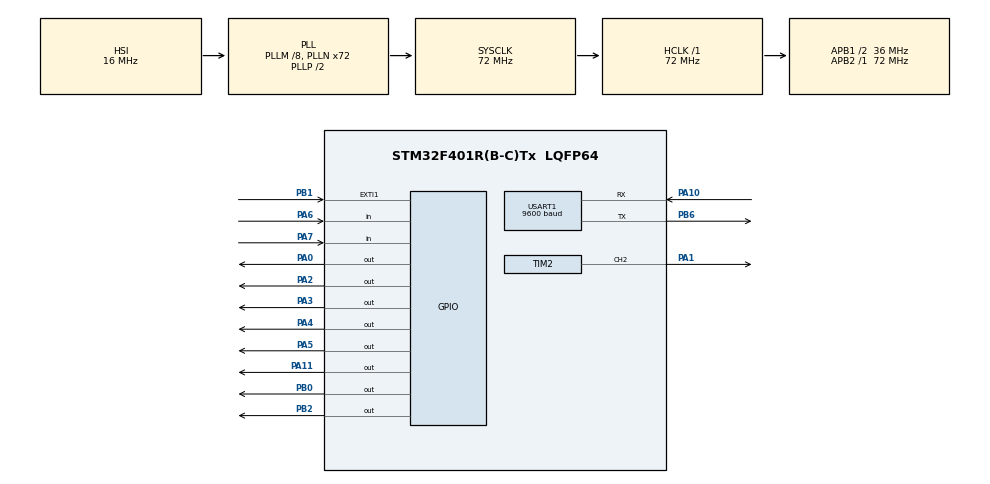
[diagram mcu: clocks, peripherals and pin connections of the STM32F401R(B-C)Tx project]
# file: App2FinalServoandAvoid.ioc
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Mcu.Family=STM32F4
Mcu.Name=STM32F401R(B-C)Tx
Mcu.Package=LQFP64
NVIC.EXTI1_IRQn=true\:0\:0\:false\:false\:true\:true\:true\:true
NVIC.PriorityGroup=NVIC_PRIORITYGROUP_4
NVIC.USART1_IRQn=true\:0\:0\:false\:false\:true\:true\:true\:true
PA0-WKUP.Signal=GPIO_Output
PA1.Signal=S_TIM2_CH2
PA10.Mode=Asynchronous
PA10.Signal=USART1_RX
PA11.Signal=GPIO_Output
PA13.Mode=Serial_Wire
PA13.Signal=SYS_JTMS-SWDIO
PA14.Mode=Serial_Wire
PA14.Signal=SYS_JTCK-SWCLK
PA2.Signal=GPIO_Output
PA3.Signal=GPIO_Output
PA4.Signal=GPIO_Output
PA5.Signal=GPIO_Output
PA6.Signal=GPIO_Input
PA7.Signal=GPIO_Input
PB0.Signal=GPIO_Output
PB1.Signal=GPXTI1
PB2.Signal=GPIO_Output
PB6.Mode=Asynchronous
PB6.Signal=USART1_TX
PH0\ -\ OSC_IN.Mode=HSE-External-Oscillator
PH0\ -\ OSC_IN.Signal=RCC_OSC_IN
PH1\ -\ OSC_OUT.Mode=HSE-External-Oscillator
PH1\ -\ OSC_OUT.Signal=RCC_OSC_OUT
ProjectManager.HeapSize=0x200
ProjectManager.StackSize=0x400
ProjectManager.TargetToolchain=STM32CubeIDE
RCC.48MHZClocksFreq_Value=36000000
RCC.AHBFreq_Value=72000000
RCC.APB1CLKDivider=RCC_HCLK_DIV2
RCC.APB1Freq_Value=36000000
RCC.APB1TimFreq_Value=72000000
RCC.APB2Freq_Value=72000000
RCC.APB2TimFreq_Value=72000000
RCC.CortexFreq_Value=72000000
RCC.HCLKFreq_Value=72000000
RCC.HSE_VALUE=25000000
RCC.HSI_VALUE=16000000
RCC.LSE_VALUE=32768
RCC.PLLM=8
RCC.PLLN=72
RCC.SYSCLKFreq_VALUE=72000000
RCC.SYSCLKSource=RCC_SYSCLKSOURCE_PLLCLK
RCC.VCOOutputFreq_Value=144000000
SH.S_TIM2_CH2.0=TIM2_CH2,PWM Generation2 CH2
TIM1.Prescaler=71
TIM2.Channel-PWM\ Generation2\ CH2=TIM_CHANNEL_2
TIM2.Period=19999
TIM2.Prescaler=71
USART1.BaudRate=9600
USART1.VirtualMode=VM_ASYNC
VP_TIM1_VS_ClockSourceINT.Mode=Internal
VP_TIM2_VS_ClockSourceINT.Mode=Internal
board=custom

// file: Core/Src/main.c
/* USER CODE BEGIN Header */
/**
  ******************************************************************************
  * @file           : main.c
  * @brief          : Main program body
  ******************************************************************************
  * @attention
  *
  * Copyright (c) 2024 STMicroelectronics.
  * All rights reserved.
  *
  * This software is licensed under terms that can be found in the LICENSE file
  * in the root directory of this software component.
  * If no LICENSE file comes with this software, it is provided AS-IS.
  *
  ******************************************************************************
  */
/* USER CODE END Header */
#include "main.h"

TIM_HandleTypeDef htim1;
TIM_HandleTypeDef htim2;

UART_HandleTypeDef huart1;

/* USER CODE BEGIN PV */
#define TRIG_PIN                GPIO_PIN_5
#define TRIG_PORT               GPIOA

#define ECHO_PIN                GPIO_PIN_6
#define ECHO_PORT               GPIOA

#define MOTOR1_PIN              GPIO_PIN_0
#define MOTOR1_PORT             GPIOA

#define MOTOR2_PIN              GPIO_PIN_4
#define MOTOR2_PORT             GPIOA

#define MOTOR3_PIN              GPIO_PIN_2
#define MOTOR3_PORT             GPIOA

#define MOTOR4_PIN              GPIO_PIN_3
#define MOTOR4_PORT             GPIOA

#define LED_PIN                 GPIO_PIN_0
#define LED_PORT                GPIOB

#define BUZZER_PIN              GPIO_PIN_2
#define BUZZER_PORT             GPIOB

#define SERVO_PIN               GPIO_PIN_1
#define SERVO_PORT              GPIOA

#define TOUCH_PIN               GPIO_PIN_1
#define TOUCH_PORT              GPIOB

uint32_t pMillis;
uint32_t Value1 = 0;
uint32_t Value2 = 0;
uint16_t Distance  = 0;  // cm
uint16_t Touch = 0;
uint8_t received_char;
uint16_t Swap = 0;
/* USER CODE END PV */

void SystemClock_Config(void);
static void MX_GPIO_Init(void);
static void MX_TIM2_Init(void);
static void MX_TIM1_Init(void);
static void MX_USART1_UART_Init(void);
/* USER CODE BEGIN PFP */
void set_servo_angle(uint16_t angle);
/* USER CODE END PFP */

/* USER CODE BEGIN 0 */
void HAL_UART_RxCpltCallback(UART_HandleTypeDef *huart);
/* USER CODE END 0 */

int main(void)
{

  /* MCU Configuration--------------------------------------------------------*/

  /* Reset of all peripherals, Initializes the Flash interface and the Systick. */
  HAL_Init();

  /* Configure the system clock */
  SystemClock_Config();

  /* Initialize all configured peripherals */
  MX_GPIO_Init();
  MX_TIM2_Init();
  MX_TIM1_Init();
  MX_USART1_UART_Init();
  /* USER CODE BEGIN 2 */
  HAL_TIM_Base_Start(&htim1);
  HAL_TIM_PWM_Start(&htim2, TIM_CHANNEL_2);
  HAL_GPIO_WritePin(TRIG_PORT, TRIG_PIN, GPIO_PIN_RESET);  // pull the TRIG pin low

  // Initialize UART reception
  HAL_UART_Receive_IT(&huart1, &received_char, 1);
  /* USER CODE END 2 */

  /* Infinite loop */
  /* USER CODE BEGIN WHILE */
  while (1)
  {
    // Swap mode handling
    if (Swap)
    {
        set_servo_angle(0);  // Set servo to 0 degrees
        HAL_Delay(500);
        set_servo_angle(90);  // Set servo to 90 degrees
        HAL_Delay(500);
        set_servo_angle(180);  // Set servo to 180 degrees
    }
    // If touch sensor is activated
    if (Touch)
    {
        HAL_GPIO_WritePin(TRIG_PORT, TRIG_PIN, GPIO_PIN_SET);  // pull the TRIG pin HIGH
        __HAL_TIM_SET_COUNTER(&htim1, 0);
        while (__HAL_TIM_GET_COUNTER(&htim1) < 10);  // wait for 10 us
        HAL_GPIO_WritePin(TRIG_PORT, TRIG_PIN, GPIO_PIN_RESET);  // pull the TRIG pin low

        pMillis = HAL_GetTick(); // used this to avoid infinite while loop (for timeout)
        // wait for the echo pin to go high
        while (!(HAL_GPIO_ReadPin(ECHO_PORT, ECHO_PIN)) && pMillis + 10 > HAL_GetTick());
        Value1 = __HAL_TIM_GET_COUNTER(&htim1);

        pMillis = HAL_GetTick(); // used this to avoid infinite while loop (for timeout)
        // wait for the echo pin to go low
        while ((HAL_GPIO_ReadPin(ECHO_PORT, ECHO_PIN)) && pMillis + 50 > HAL_GetTick());
        Value2 = __HAL_TIM_GET_COUNTER(&htim1);

        Distance = (Value2 - Value1) * 0.034 / 2;

        if (Distance < 10)
        {
            HAL_GPIO_WritePin(BUZZER_PORT, BUZZER_PIN, GPIO_PIN_SET);  // Sound the buzzer
            HAL_GPIO_WritePin(LED_PORT, LED_PIN, GPIO_PIN_RESET);  // turn the LED off

            set_servo_angle(0);  // Set servo to 0 degrees
            HAL_Delay(500);
            set_servo_angle(90);  // Set servo to 90 degrees
            HAL_Delay(500);
            set_servo_angle(180);  // Set servo to 180 degrees

            HAL_GPIO_WritePin(BUZZER_PORT, BUZZER_PIN, GPIO_PIN_RESET);  // Stop the buzzer

            HAL_GPIO_WritePin(MOTOR1_PORT, MOTOR1_PIN, GPIO_PIN_RESET);  // moving right
            HAL_GPIO_WritePin(MOTOR2_PORT, MOTOR2_PIN, GPIO_PIN_SET);
            HAL_GPIO_WritePin(MOTOR3_PORT, MOTOR3_PIN, GPIO_PIN_SET);
            HAL_GPIO_WritePin(MOTOR4_PORT, MOTOR4_PIN, GPIO_PIN_RESET);
        }
        else
        {
            HAL_GPIO_WritePin(LED_PORT, LED_PIN, GPIO_PIN_SET);  // turn the LED on

            HAL_GPIO_WritePin(BUZZER_PORT, BUZZER_PIN, GPIO_PIN_RESET);  // turn the buzzer off

            HAL_GPIO_WritePin(MOTOR1_PORT, MOTOR1_PIN, GPIO_PIN_SET);  // turn the Motors on
            HAL_GPIO_WritePin(MOTOR2_PORT, MOTOR2_PIN, GPIO_PIN_RESET);
            HAL_GPIO_WritePin(MOTOR3_PORT, MOTOR3_PIN, GPIO_PIN_SET);
            HAL_GPIO_WritePin(MOTOR4_PORT, MOTOR4_PIN, GPIO_PIN_RESET);

            set_servo_angle(0);  // Set servo to 0 degrees
        }

        HAL_Delay(50);
    }
    /* USER CODE END WHILE */

  }
}

void SystemClock_Config(void)
{
  RCC_OscInitTypeDef RCC_OscInitStruct = {0};
  RCC_ClkInitTypeDef RCC_ClkInitStruct = {0};

  /** Configure the main internal regulator output voltage
  */
  __HAL_RCC_PWR_CLK_ENABLE();
  __HAL_PWR_VOLTAGESCALING_CONFIG(PWR_REGULATOR_VOLTAGE_SCALE2);

  /** Initializes the RCC Oscillators according to the specified parameters
  * in the RCC_OscInitTypeDef structure.
  */
  RCC_OscInitStruct.OscillatorType = RCC_OSCILLATORTYPE_HSI;
  RCC_OscInitStruct.HSIState = RCC_HSI_ON;
  RCC_OscInitStruct.HSICalibrationValue = RCC_HSICALIBRATION_DEFAULT;
  RCC_OscInitStruct.PLL.PLLState = RCC_PLL_ON;
  RCC_OscInitStruct.PLL.PLLSource = RCC_PLLSOURCE_HSI;
  RCC_OscInitStruct.PLL.PLLM = 8;
  RCC_OscInitStruct.PLL.PLLN = 72;
  RCC_OscInitStruct.PLL.PLLP = RCC_PLLP_DIV2;
  RCC_OscInitStruct.PLL.PLLQ = 4;
  if (HAL_RCC_OscConfig(&RCC_OscInitStruct) != HAL_OK)
  {
    Error_Handler();
  }

  /** Initializes the CPU, AHB and APB buses clocks
  */
  RCC_ClkInitStruct.ClockType = RCC_CLOCKTYPE_HCLK|RCC_CLOCKTYPE_SYSCLK
                              |RCC_CLOCKTYPE_PCLK1|RCC_CLOCKTYPE_PCLK2;
  RCC_ClkInitStruct.SYSCLKSource = RCC_SYSCLKSOURCE_PLLCLK;
  RCC_ClkInitStruct.AHBCLKDivider = RCC_SYSCLK_DIV1;
  RCC_ClkInitStruct.APB1CLKDivider = RCC_HCLK_DIV2;
  RCC_ClkInitStruct.APB2CLKDivider = RCC_HCLK_DIV1;

  if (HAL_RCC_ClockConfig(&RCC_ClkInitStruct, FLASH_LATENCY_2) != HAL_OK)
  {
    Error_Handler();
  }
}

static void MX_TIM1_Init(void)
{

  TIM_ClockConfigTypeDef sClockSourceConfig = {0};
  TIM_MasterConfigTypeDef sMasterConfig = {0};

  htim1.Instance = TIM1;
  htim1.Init.Prescaler = 71;
  htim1.Init.CounterMode = TIM_COUNTERMODE_UP;
  htim1.Init.Period = 65535;
  htim1.Init.ClockDivision = TIM_CLOCKDIVISION_DIV1;
  htim1.Init.RepetitionCounter = 0;
  htim1.Init.AutoReloadPreload = TIM_AUTORELOAD_PRELOAD_DISABLE;
  if (HAL_TIM_Base_Init(&htim1) != HAL_OK)
  {
    Error_Handler();
  }
  sClockSourceConfig.ClockSource = TIM_CLOCKSOURCE_INTERNAL;
  if (HAL_TIM_ConfigClockSource(&htim1, &sClockSourceConfig) != HAL_OK)
  {
    Error_Handler();
  }
  sMasterConfig.MasterOutputTrigger = TIM_TRGO_RESET;
  sMasterConfig.MasterSlaveMode = TIM_MASTERSLAVEMODE_DISABLE;
  if (HAL_TIMEx_MasterConfigSynchronization(&htim1, &sMasterConfig) != HAL_OK)
  {
    Error_Handler();
  }

}

static void MX_TIM2_Init(void)
{

  TIM_ClockConfigTypeDef sClockSourceConfig = {0};
  TIM_MasterConfigTypeDef sMasterConfig = {0};
  TIM_OC_InitTypeDef sConfigOC = {0};

  htim2.Instance = TIM2;
  htim2.Init.Prescaler = 71;
  htim2.Init.CounterMode = TIM_COUNTERMODE_UP;
  htim2.Init.Period = 19999;
  htim2.Init.ClockDivision = TIM_CLOCKDIVISION_DIV1;
  htim2.Init.AutoReloadPreload = TIM_AUTORELOAD_PRELOAD_DISABLE;
  if (HAL_TIM_Base_Init(&htim2) != HAL_OK)
  {
    Error_Handler();
  }
  sClockSourceConfig.ClockSource = TIM_CLOCKSOURCE_INTERNAL;
  if (HAL_TIM_ConfigClockSource(&htim2, &sClockSourceConfig) != HAL_OK)
  {
    Error_Handler();
  }
  if (HAL_TIM_PWM_Init(&htim2) != HAL_OK)
  {
    Error_Handler();
  }
  sMasterConfig.MasterOutputTrigger = TIM_TRGO_RESET;
  sMasterConfig.MasterSlaveMode = TIM_MASTERSLAVEMODE_DISABLE;
  if (HAL_TIMEx_MasterConfigSynchronization(&htim2, &sMasterConfig) != HAL_OK)
  {
    Error_Handler();
  }
  sConfigOC.OCMode = TIM_OCMODE_PWM1;
  sConfigOC.Pulse = 0;
  sConfigOC.OCPolarity = TIM_OCPOLARITY_HIGH;
  sConfigOC.OCFastMode = TIM_OCFAST_DISABLE;
  if (HAL_TIM_PWM_ConfigChannel(&htim2, &sConfigOC, TIM_CHANNEL_2) != HAL_OK)
  {
    Error_Handler();
  }
  HAL_TIM_MspPostInit(&htim2);

}

static void MX_USART1_UART_Init(void)
{

  huart1.Instance = USART1;
  huart1.Init.BaudRate = 9600;
  huart1.Init.WordLength = UART_WORDLENGTH_8B;
  huart1.Init.StopBits = UART_STOPBITS_1;
  huart1.Init.Parity = UART_PARITY_NONE;
  huart1.Init.Mode = UART_MODE_TX_RX;
  huart1.Init.HwFlowCtl = UART_HWCONTROL_NONE;
  huart1.Init.OverSampling = UART_OVERSAMPLING_16;
  if (HAL_UART_Init(&huart1) != HAL_OK)
  {
    Error_Handler();
  }

}

static void MX_GPIO_Init(void)
{
  GPIO_InitTypeDef GPIO_InitStruct = {0};

  /* GPIO Ports Clock Enable */
  __HAL_RCC_GPIOH_CLK_ENABLE();
  __HAL_RCC_GPIOA_CLK_ENABLE();
  __HAL_RCC_GPIOB_CLK_ENABLE();

  /*Configure GPIO pin Output Level */
  HAL_GPIO_WritePin(GPIOA, GPIO_PIN_0|GPIO_PIN_2|GPIO_PIN_3|GPIO_PIN_4
                          |GPIO_PIN_5|GPIO_PIN_11, GPIO_PIN_RESET);

  /*Configure GPIO pin Output Level */
  HAL_GPIO_WritePin(GPIOB, GPIO_PIN_0|GPIO_PIN_2, GPIO_PIN_RESET);

  /*Configure GPIO pins : PA0 PA2 PA3 PA4
                           PA5 PA11 */
  GPIO_InitStruct.Pin = GPIO_PIN_0|GPIO_PIN_2|GPIO_PIN_3|GPIO_PIN_4
                          |GPIO_PIN_5|GPIO_PIN_11;
  GPIO_InitStruct.Mode = GPIO_MODE_OUTPUT_PP;
  GPIO_InitStruct.Pull = GPIO_NOPULL;
  GPIO_InitStruct.Speed = GPIO_SPEED_FREQ_LOW;
  HAL_GPIO_Init(GPIOA, &GPIO_InitStruct);

  /*Configure GPIO pins : PA6 PA7 */
  GPIO_InitStruct.Pin = GPIO_PIN_6|GPIO_PIN_7;
  GPIO_InitStruct.Mode = GPIO_MODE_INPUT;
  GPIO_InitStruct.Pull = GPIO_NOPULL;
  HAL_GPIO_Init(GPIOA, &GPIO_InitStruct);

  /*Configure GPIO pins : PB0 PB2 */
  GPIO_InitStruct.Pin = GPIO_PIN_0|GPIO_PIN_2;
  GPIO_InitStruct.Mode = GPIO_MODE_OUTPUT_PP;
  GPIO_InitStruct.Pull = GPIO_NOPULL;
  GPIO_InitStruct.Speed = GPIO_SPEED_FREQ_LOW;
  HAL_GPIO_Init(GPIOB, &GPIO_InitStruct);

  /*Configure GPIO pin : PB1 */
  GPIO_InitStruct.Pin = GPIO_PIN_1;
  GPIO_InitStruct.Mode = GPIO_MODE_IT_RISING;
  GPIO_InitStruct.Pull = GPIO_NOPULL;
  HAL_GPIO_Init(GPIOB, &GPIO_InitStruct);

  /* EXTI interrupt init*/
  HAL_NVIC_SetPriority(EXTI1_IRQn, 0, 0);
  HAL_NVIC_EnableIRQ(EXTI1_IRQn);

}

/* USER CODE BEGIN 4 */

/**
  * @brief  Rx Transfer completed callback.
  * @param  huart UART handle.
  * @retval None
  */
void HAL_UART_RxCpltCallback(UART_HandleTypeDef *huart)
{
  if (huart->Instance == USART1)
  {
    if (received_char == '1')
    {
        Swap = ~Swap;
    }
    HAL_UART_Receive_IT(&huart1, &received_char, 1); // Restart UART reception
  }
}

void HAL_GPIO_EXTI_Callback(uint16_t GPIO_Pin)
{
    if (GPIO_Pin == TOUCH_PIN)
    {
        Touch = ~Touch;
    //    HAL_GPIO_TogglePin(LED_PORT, LED_PIN);  // Toggle the LED
    }
   // HAL_Delay(300); // debounce delay
}

/**
  * @brief  Set servo motor to a specific angle.
  * @param  angle: angle to set the servo motor to (0-180 degrees).
  * @retval None
  */
void set_servo_angle(uint16_t angle)
{
    if (angle > 180) angle = 180;
    __HAL_TIM_SET_COMPARE(&htim2, TIM_CHANNEL_2, 500 + (angle * 1000 / 180));
}

/**
  * @brief  Swap motor connections based on current state.
  * @retval None
  */
void swap_motors()
{
    if (Swap)
    {
        HAL_GPIO_WritePin(GPIOA, MOTOR1_PIN, GPIO_PIN_SET);
        HAL_GPIO_WritePin(GPIOA, MOTOR2_PIN, GPIO_PIN_RESET);
        HAL_GPIO_WritePin(GPIOA, MOTOR3_PIN, GPIO_PIN_SET);
        HAL_GPIO_WritePin(GPIOA, MOTOR4_PIN, GPIO_PIN_RESET);
    }
    else
    {
        HAL_GPIO_WritePin(GPIOA, MOTOR1_PIN, GPIO_PIN_RESET);
        HAL_GPIO_WritePin(GPIOA, MOTOR2_PIN, GPIO_PIN_SET);
        HAL_GPIO_WritePin(GPIOA, MOTOR3_PIN, GPIO_PIN_RESET);
        HAL_GPIO_WritePin(GPIOA, MOTOR4_PIN, GPIO_PIN_SET);
    }
}

/* USER CODE END 4 */

void Error_Handler(void)
{
  while(1)
  {
  }
}
